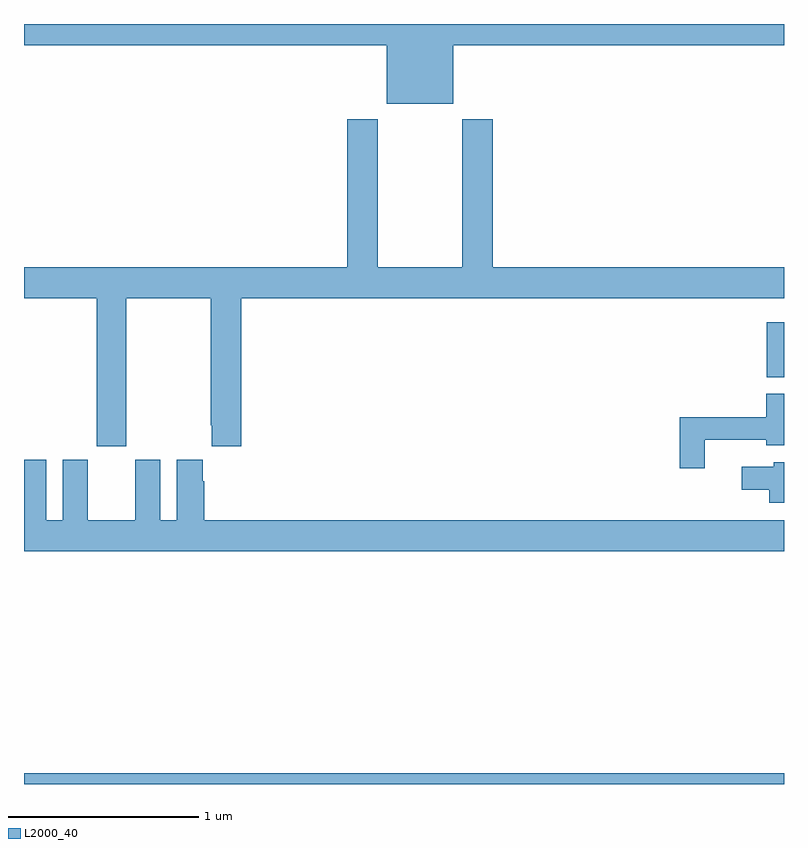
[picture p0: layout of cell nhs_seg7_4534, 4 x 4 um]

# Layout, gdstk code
import gdstk
lib = gdstk.Library(unit=1e-6, precision=1e-09)
def R(c, l, rs):  # rectangles x0, y0, x1, y1
    for r in rs: c.add(gdstk.rectangle(r[:2], r[2:], *l))
def P(c, l, *ps):  # polygons
    for p in ps: c.add(gdstk.Polygon(p, *l))
L2000_40 = (2000, 40)

nhs_seg7_4534 = lib.new_cell('nhs_seg7_4534')
R(nhs_seg7_4534, L2000_40, [(395,1058,399,1058.056), (398.909,1060.142,399,1060.429)])
P(nhs_seg7_4534, L2000_40, [(397.258,1061.888),(399,1061.888),(399,1062),(395,1062),(395,1061.888),(396.908,1061.888),(396.908,1061.579),(397.258,1061.579)],
  [(395.538,1060.556),(395.983,1060.556),(395.983,1059.889),(395.987,1059.889),(395.987,1059.777),(396.143,1059.777),(396.143,1060.556),(399,1060.556),(399,1060.72),(397.466,1060.72),(397.466,1061.5),(397.306,1061.5),(397.306,1060.72),(396.861,1060.72),(396.861,1061.5),(396.701,1061.5),(396.701,1060.72),(395,1060.72),(395,1060.556),(395.383,1060.556),(395.383,1059.777),(395.538,1059.777)],
  [(398.584,1059.812),(398.906,1059.812),(398.906,1059.782),(399,1059.782),(399,1060.054),(398.906,1060.054),(398.906,1059.929),(398.45,1059.929),(398.45,1059.663),(398.584,1059.663)],
  [(399,1059.388),(395.948,1059.388),(395.948,1059.593),(395.941,1059.593),(395.941,1059.706),(395.804,1059.706),(395.804,1059.388),(395.716,1059.388),(395.716,1059.706),(395.585,1059.706),(395.585,1059.388),(395.335,1059.388),(395.335,1059.706),(395.204,1059.706),(395.204,1059.388),(395.116,1059.388),(395.116,1059.706),(395,1059.706),(395,1059.224),(399,1059.224)],
  [(399,1059.694),(398.946,1059.694),(398.946,1059.67),(398.778,1059.67),(398.778,1059.548),(398.923,1059.548),(398.923,1059.479),(399,1059.479)])

lib.write_gds('nhs_seg7_4534.gds')
